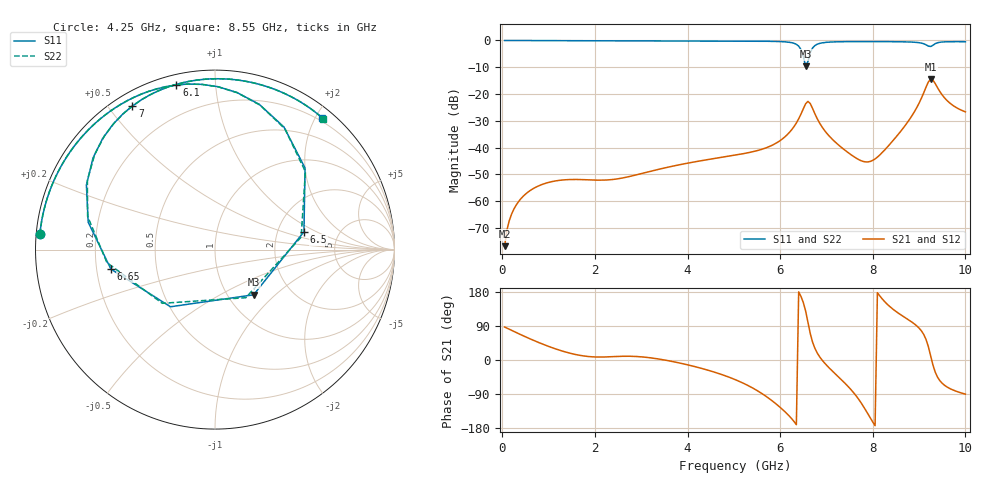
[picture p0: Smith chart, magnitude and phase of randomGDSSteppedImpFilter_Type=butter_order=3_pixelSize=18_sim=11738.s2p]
! freq	dB(S11)	phase(S11)	dB(S12)	phase(S12)
!  dB(S21)	phase(S21)	dB(S22)	phase(S22)
!S-par simulation data
#  GHz  S  DB  R 50
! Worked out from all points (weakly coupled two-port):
!   200 points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, 50 MHz to 10 GHz, reference 50 ohm
!   highest |S21| = -14.45 dB at 9.25 GHz (marker M1); lowest = -76.8 dB at 50 MHz (marker M2)
!   lowest |S11| = -9.6 dB at 6.55 GHz (marker M3), VSWR 1.99, Z = 65.5 - j37.1 ohm
!   |S11| at or under -10 dB: nowhere
!   |S22| runs from -9.9 to 0.0 dB; largest |S21 - S12| = 0
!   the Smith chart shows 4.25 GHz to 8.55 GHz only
!   S11 on the Smith chart (normalised r, x): 4.25 GHz: 0.01, +0.04; 6.1 GHz: 0.05, +0.79; 6.5 GHz: 2.82, +0.75; 6.65 GHz: 0.26, -0.09; 7 GHz: 0.05, +0.58; 8.55 GHz: 0.15, +2.10
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0.05  -0.00 -3.0  -76.79 87.0  -76.79 87.0  -0.00 -3.0
0.2  -0.02 -11.8  -64.84 78.3  -64.84 78.3  -0.02 -11.8
0.5  -0.04 -29.1  -57.38 61.2  -57.38 61.2  -0.04 -29.1
1.1  -0.07 -61.8  -52.59 31.4  -52.59 31.4  -0.07 -61.8
1.75  -0.10 -93.4  -51.96 10.8  -51.96 10.8  -0.10 -93.4
3.4  -0.15 -157.2  -48.00 2.2  -48.00 2.2  -0.15 -157.2
4.25  -0.18 175.1  -45.02 -20.4  -45.02 -20.4  -0.18 175.0
5.05  -0.22 149.0  -42.74 -52.8  -42.74 -52.8  -0.22 149.0
6.1  -0.52 103.2  -36.03 -136.1  -36.03 -136.1  -0.52 103.1
6.35  -1.45 73.1  -30.80 -170.7  -30.80 -170.7  -1.48 72.6
6.5  -5.93 11.3  -25.51 151.7  -25.51 151.7  -6.29 8.2
6.55  -9.60 -49.5  -23.65 129.3  -23.65 129.3  -9.95 -57.4
6.6  -7.88 -127.9  -22.75 99.8  -22.75 99.8  -7.55 -134.4
6.65  -4.58 -169.4  -23.54 70.1  -23.54 70.1  -4.34 -173.1
6.7  -2.82 167.9  -25.38 47.1  -25.38 47.1  -2.69 165.3
6.8  -1.41 143.1  -29.18 18.6  -29.18 18.6  -1.36 141.6
7  -0.70 119.9  -34.51 -13.5  -34.51 -13.5  -0.68 119.2
7.8  -0.42 79.7  -45.20 -122.9  -45.20 -122.9  -0.41 79.3
8.35  -0.44 58.5  -39.11 142.9  -39.11 142.9  -0.45 58.1
8.55  -0.48 50.8  -35.06 123.8  -35.06 123.8  -0.48 50.4
9.25  -2.26 30.1  -14.45 11.1  -14.45 11.1  -2.29 29.7
10  -0.47 2.1  -26.66 -90.1  -26.66 -90.1  -0.47 1.8
